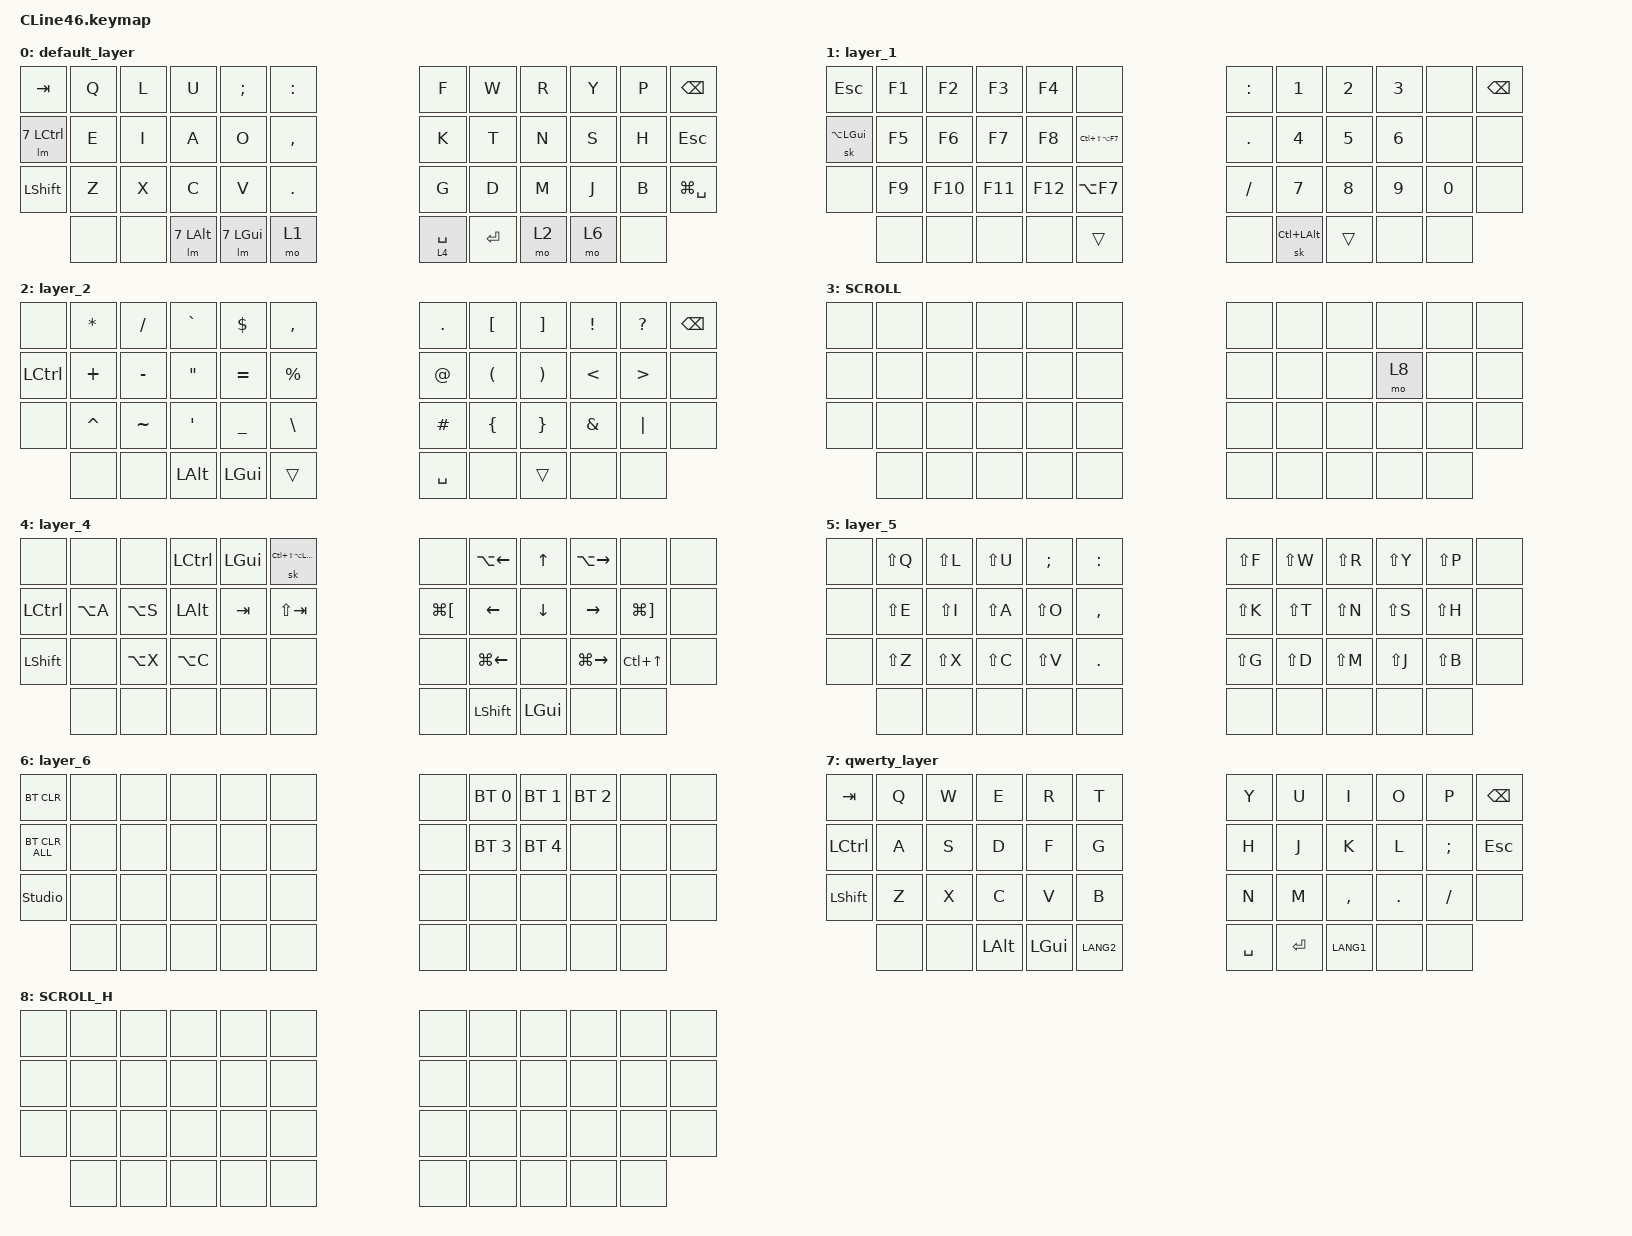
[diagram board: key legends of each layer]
#include <input/processors.dtsi>
#include <dt-bindings/zmk/input_transform.h>
#include <zephyr/dt-bindings/input/input-event-codes.h>
#include <behaviors.dtsi>
#include <behaviors/runtime_macro.dtsi>
#include <dt-bindings/zmk/bt.h>
#include <dt-bindings/zmk/keys.h>
#include <dt-bindings/zmk/pointing.h>

&mt {
    flavor = "balanced";
    quick-tap-ms = <0>;
};

/ {
    combos {
        compatible = "zmk,combos";

        mkp_mb1 {
            timeout-ms = <30>;
            bindings = <&mkp MB1>;
            key-positions = <19 20>;
            layers = <0 7>;
        };

        mkp_mb2 {
            timeout-ms = <30>;
            bindings = <&mkp MB2>;
            key-positions = <20 21>;
            layers = <0 7>;
        };

        mkp_mb4 {
            timeout-ms = <30>;
            bindings = <&mkp MB4>;
            key-positions = <31 32>;
            layers = <0 7>;
        };

        mkp_mb5 {
            timeout-ms = <30>;
            bindings = <&mkp MB5>;
            key-positions = <32 33>;
            layers = <0 7>;
        };

        mo_scroll {
            timeout-ms = <30>;
            bindings = <&mo 3>;
            key-positions = <20 31>;
            layers = <0>;
        };
    };

    macros {
        // to_layer_0: to_layer_0 {
        //     compatible = "zmk,behavior-macro-one-param";
        //     #binding-cells = <1>;
        //     bindings = <&to 0 &macro_param_1to1 &kp MACRO_PLACEHOLDER>;
        //     label = "TO_LAYER_0";
        // };

        lm: lm {
            compatible = "zmk,behavior-macro-two-param";
            wait-ms = <0>;
            tap-ms = <0>;
            #binding-cells = <2>;
            bindings
                = <&macro_param_1to1>
                , <&macro_press &mo MACRO_PLACEHOLDER>
                , <&macro_param_2to1>
                , <&macro_press &kp MACRO_PLACEHOLDER>
                , <&macro_pause_for_release>
                , <&macro_param_2to1>
                , <&macro_release &kp MACRO_PLACEHOLDER>
                , <&macro_param_1to1>
                , <&macro_release &mo MACRO_PLACEHOLDER>
                ;
            label = "LAYER_MOD";
        };
    };

    // behaviors {
    //     lt_to_layer_0: lt_to_layer_0 {
    //         compatible = "zmk,behavior-hold-tap";
    //         label = "LAYER_TAP_TO_0";
    //         bindings = <&mo>, <&to_layer_0>;
    //
    //         #binding-cells = <2>;
    //         tapping-term-ms = <200>;
    //     };
    // };

    conditional_layers {
        compatible = "zmk,conditional-layers";

        tri_layer {
            if-layers = <1 2>;
            then-layer = <5>;
        };
    };

    /*
     * キーマップ（default_layer）と key-positions の対応表
     * ---------------------------------------------------------------------------------------------------------------------------------------------------------------------
     * |  0: TAB    |  1: Q      |  2: L      |  3: U      |  4: SEMI   |  5: COLON  |                           |  6: F      |  7: W      |  8: R      |  9: Y      | 10: P      | 11: BSPC   |
     * | 12: LCTRL  | 13: E      | 14: I      | 15: A      | 16: O      | 17: COMMA  |                           | 18: K      | 19: T      | 20: N      | 21: S      | 22: H      | 23: ESC    |
     * | 24: LSHIFT | 25: Z      | 26: X      | 27: C      | 28: V      | 29: DOT    |                           | 30: G      | 31: D      | 32: M      | 33: J      | 34: B      | 35: LG(SP) |
     *              | 36: none   | 37: none   | 38: LALT   | 39: LGUI   | 40: MO(1)  | 41: LT4/SP   | 42: RET    | 43: MO(2)  |                         | 44: MO(6)   | 45: none   |
     * ---------------------------------------------------------------------------------------------------------------------------------------------------------------------
     */
    keymap {
        compatible = "zmk,keymap";

        default_layer {
            bindings = <
&kp TAB        &kp Q     &kp L      &kp U       &kp SEMI      &kp COLON                  /* | */                  &kp F     &kp W   &kp R       &kp Y          &kp P       &kp BSPC
&lm 7 LCTRL    &kp E     &kp I      &kp A       &kp O         &kp COMMA                  /* | */                  &kp K     &kp T   &kp N       &kp S          &kp H       &kp ESC
&kp LSHIFT     &kp Z     &kp X      &kp C       &kp V         &kp DOT                    /* | */                  &kp G     &kp D   &kp M       &kp J          &kp B       &kp LG(SPACE)
               &none     &none      &lm 7 LALT  &lm 7 LGUI    &mo 1         &lt 4 SPACE  /* | */  &kp RET         &mo 2                         &mo 6          &none
            >;
        };


        layer_1 {
            bindings = <
&kp ESC          &kp F1   &kp F2    &kp F3    &kp F4    &none                            /* | */                  &kp COLON   &kp NUMBER_1   &kp NUMBER_2   &kp NUMBER_3   &none          &kp BSPC
&sk LA(LGUI)     &kp F5   &kp F6    &kp F7    &kp F8    &kp LC(LS(LA(F7)))               /* | */                  &kp DOT     &kp NUMBER_4   &kp NUMBER_5   &kp NUMBER_6   &none          &none
&none            &kp F9   &kp F10   &kp F11   &kp F12   &kp LA(F7)                       /* | */                  &kp SLASH   &kp NUMBER_7   &kp NUMBER_8   &kp NUMBER_9   &kp NUMBER_0   &none
                 &none    &none     &none     &none     &trans              &none        /* | */  &sk LC(LALT)    &trans                                    &none          &none
            >;
        };


        layer_2 {
            bindings = <
&none       &kp ASTERISK   &kp SLASH   &kp GRAVE          &kp DOLLAR       &kp COMMA                  /* | */            &kp DOT        &kp LEFT_BRACKET       &kp RIGHT_BRACKET       &kp EXCLAMATION   &kp QMARK          &kp BSPC
&kp LCTRL   &kp PLUS       &kp MINUS   &kp DOUBLE_QUOTES  &kp EQUAL        &kp PERCENT                /* | */            &kp AT_SIGN    &kp LEFT_PARENTHESIS   &kp RIGHT_PARENTHESIS   &kp LESS_THAN     &kp GREATER_THAN   &none
&none       &kp CARET      &kp TILDE   &kp SINGLE_QUOTE   &kp UNDERSCORE   &kp BACKSLASH              /* | */            &kp HASH       &kp LEFT_BRACE         &kp RIGHT_BRACE         &kp AMPERSAND     &kp PIPE           &none
            &none          &none       &kp LALT           &kp LGUI         &trans          &kp SPACE  /* | */  &none     &trans                                                                          &none              &none
            >;
        };


        SCROLL {
            bindings = <
&none   &none    &none    &none    &none    &none              /* | */            &none    &none    &none    &none    &none    &none
&none   &none    &none    &none    &none    &none              /* | */            &none    &none    &none    &mo 8    &none    &none
&none   &none    &none    &none    &none    &none              /* | */            &none    &none    &none    &none    &none    &none
        &none    &none    &none    &none    &none    &none     /* | */  &none     &none                      &none    &none
            >;
        };


        layer_4 {
            bindings = <
&none        &none       &none       &kp LCTRL   &kp LGUI   &sk LC(LS(LA(LGUI)))            /* | */                  &none                  &kp LA(LEFT_ARROW)   &kp UP_ARROW     &kp LA(RIGHT_ARROW)   &none                   &none
&kp LCTRL    &kp LA(A)   &kp LA(S)   &kp LALT    &kp TAB    &kp LS(TAB)                     /* | */                  &kp LG(LEFT_BRACKET)   &kp LEFT_ARROW       &kp DOWN_ARROW   &kp RIGHT_ARROW       &kp LG(RIGHT_BRACKET)   &none
&kp LSHIFT   &none       &kp LA(X)   &kp LA(C)   &none      &none                           /* | */                  &none                  &kp LG(LEFT_ARROW)   &none            &kp LG(RIGHT_ARROW)   &kp LC(UP_ARROW)        &none
             &none       &none       &none       &none      &none                  &none    /* | */  &kp LSHIFT      &kp LGUI                                                     &none                 &none
            >;
        };


        layer_5 {
            bindings = <
&none    &kp LS(Q)   &kp LS(L)   &kp LS(U)   &kp SEMI    &kp COLON                /* | */            &kp LS(F)   &kp LS(W)   &kp LS(R)   &kp LS(Y)   &kp LS(P)   &none
&none    &kp LS(E)   &kp LS(I)   &kp LS(A)   &kp LS(O)   &kp COMMA                /* | */            &kp LS(K)   &kp LS(T)   &kp LS(N)   &kp LS(S)   &kp LS(H)   &none
&none    &kp LS(Z)   &kp LS(X)   &kp LS(C)   &kp LS(V)   &kp DOT                  /* | */            &kp LS(G)   &kp LS(D)   &kp LS(M)   &kp LS(J)   &kp LS(B)   &none
         &none       &none       &none       &none       &none       &none        /* | */  &none     &none                               &none       &none
            >;
        };


        layer_6 {
            bindings = <
&bt BT_CLR        &none    &none    &none    &none    &none              /* | */            &none    &bt BT_SEL 0    &bt BT_SEL 1    &bt BT_SEL 2    &none    &none
&bt BT_CLR_ALL    &none    &none    &none    &none    &none              /* | */            &none    &bt BT_SEL 3    &bt BT_SEL 4    &none           &none    &none
&studio_unlock    &none    &none    &none    &none    &none              /* | */            &none    &none           &none           &none           &none    &none
                  &none    &none    &none    &none    &none    &none     /* | */  &none     &none                                    &none           &none
            >;
        };


        qwerty_layer {
            bindings = <
&kp TAB      &kp Q     &kp W      &kp E     &kp R      &kp T                    /* | */              &kp Y       &kp U   &kp I       &kp O       &kp P      &kp BSPC
&kp LCTRL    &kp A     &kp S      &kp D     &kp F      &kp G                    /* | */              &kp H       &kp J   &kp K       &kp L       &kp SEMI   &kp ESC
&kp LSHIFT   &kp Z     &kp X      &kp C     &kp V      &kp B                    /* | */              &kp N       &kp M   &kp COMMA   &kp DOT     &kp SLASH  &none
             &none     &none      &kp LALT  &kp LGUI   &kp LANG2     &kp SPACE  /* | */  &kp RET     &kp LANG1                       &none       &none
            >;
        };


        SCROLL_H {
            bindings = <
&none   &none    &none    &none    &none    &none              /* | */            &none    &none    &none    &none    &none    &none
&none   &none    &none    &none    &none    &none              /* | */            &none    &none    &none    &none    &none    &none
&none   &none    &none    &none    &none    &none              /* | */            &none    &none    &none    &none    &none    &none
        &none    &none    &none    &none    &none    &none     /* | */  &none     &none                      &none    &none
            >;
        };
    };
};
